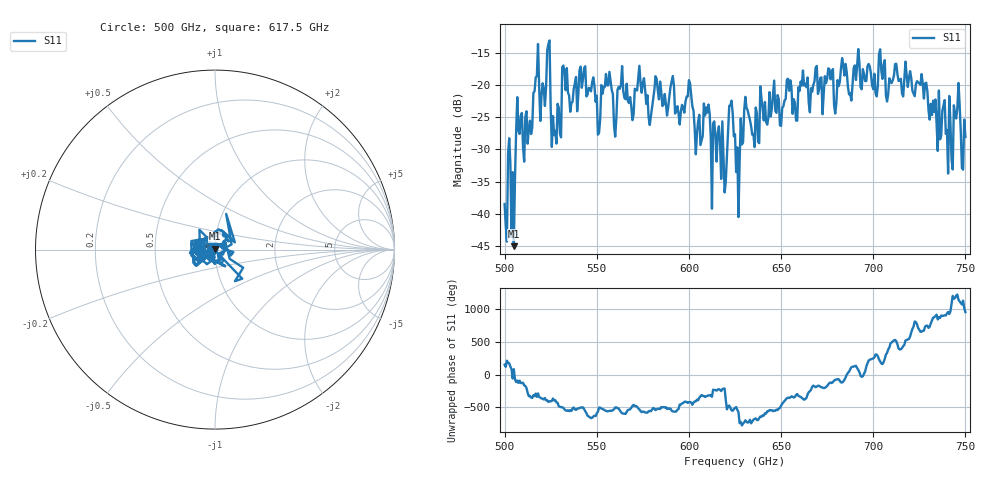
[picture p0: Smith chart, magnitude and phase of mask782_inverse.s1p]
!Created with skrf (http://scikit-rf.org).
# GHz S MA R 50.0
!freq magS11 angS11
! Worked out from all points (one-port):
!   401 points, 500 GHz to 750 GHz, reference 50 ohm
!   lowest |S11| = -45.0 dB at 505 GHz (marker M1), VSWR 1.01, Z = 50.1 + j0.557 ohm
!   |S11| at or under -10 dB: start of sweep to end of sweep
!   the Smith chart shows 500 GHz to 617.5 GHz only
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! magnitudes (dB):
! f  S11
! 500 GHz  -38.5
! 503.1 GHz  -32.2
! 505 GHz  -45.0
! 507.5 GHz  -27.1
! 513.8 GHz  -25.5
! 516.9 GHz  -18.8
! 520.6 GHz  -19.7
! 523.8 GHz  -13.6
! 526.9 GHz  -27.8
! 531.2 GHz  -17.2
! 542.5 GHz  -19.1
! 550.6 GHz  -27.7
! 562.5 GHz  -20.6
! 593.8 GHz  -23.3
! 609.4 GHz  -23.5
! 618.8 GHz  -31.3
! 622.5 GHz  -23.1
! 625 GHz  -27.6
! 626.2 GHz  -29.7
! 631.2 GHz  -23.6
! 634.4 GHz  -27.7
! 656.2 GHz  -24.5
! 676.9 GHz  -19.1
! 680 GHz  -22.7
! 683.8 GHz  -16.9
! 687.5 GHz  -21.2
! 718.8 GHz  -20.3
! 750 GHz  -28.1
